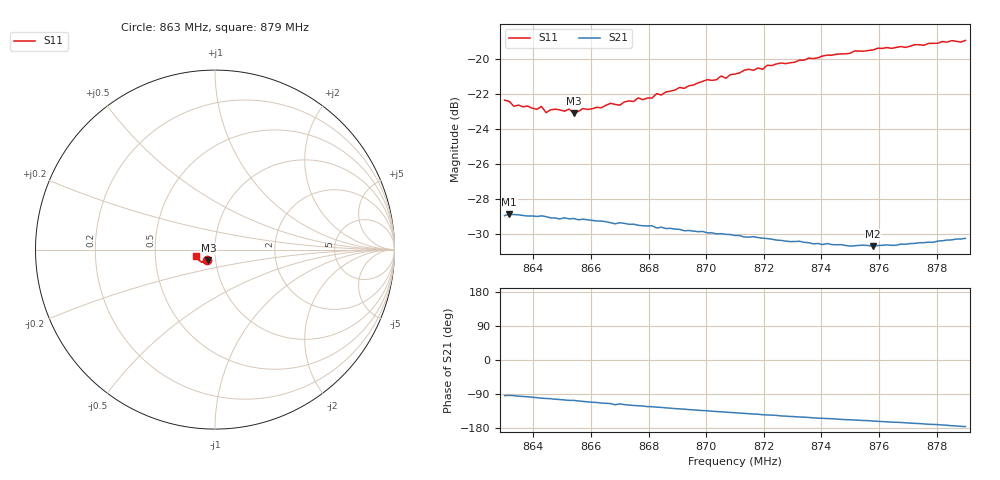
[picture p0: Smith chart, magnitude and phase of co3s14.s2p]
# HZ S RI R 50
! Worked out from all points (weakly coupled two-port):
!   101 points, 863 MHz to 879 MHz, reference 50 ohm
!   highest |S21| = -28.88 dB at 863.16 MHz (marker M1); lowest = -30.7 dB at 875.8 MHz (marker M2)
!   lowest |S11| = -23.1 dB at 865.4 MHz (marker M3), VSWR 1.15, Z = 46.1 - j5.5 ohm
!   |S11| at or under -10 dB: start of sweep to end of sweep
!   S12 and S22 are empty: the file has one direction only
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8.63e8  -0.0471 -0.0599  -0.00238 -0.0356  0 0  0 0
8.6316e8  -0.0453 -0.0605  -0.00202 -0.0359  0 0  0 0
8.6332e8  -0.0435 -0.0588  -0.00254 -0.0358  0 0  0 0
8.6412e8  -0.0408 -0.059  -0.00574 -0.035  0 0  0 0
8.6428e8  -0.0412 -0.0604  -0.00666 -0.035  0 0  0 0
8.6444e8  -0.0403 -0.0575  -0.00711 -0.0347  0 0  0 0
8.6524e8  -0.04 -0.0597  -0.00993 -0.0335  0 0  0 0
8.654e8  -0.0368 -0.0594  -0.00993 -0.0335  0 0  0 0
8.6572e8  -0.038 -0.0612  -0.0115 -0.0329  0 0  0 0
8.6636e8  -0.0383 -0.0615  -0.0138 -0.0315  0 0  0 0
8.6668e8  -0.0386 -0.0639  -0.0144 -0.0308  0 0  0 0
8.67e8  -0.0376 -0.0634  -0.0149 -0.0306  0 0  0 0
8.6764e8  -0.0399 -0.0662  -0.0171 -0.0288  0 0  0 0
8.6844e8  -0.0412 -0.0672  -0.019 -0.027  0 0  0 0
8.71e8  -0.0546 -0.0721  -0.0237 -0.0205  0 0  0 0
8.7148e8  -0.0576 -0.0735  -0.0243 -0.0191  0 0  0 0
8.7196e8  -0.0591 -0.0722  -0.025 -0.0179  0 0  0 0
8.7212e8  -0.0621 -0.0731  -0.0251 -0.0176  0 0  0 0
8.7372e8  -0.0718 -0.0699  -0.0263 -0.0136  0 0  0 0
8.758e8  -0.0876 -0.0598  -0.0276 -0.0094  0 0  0 0
8.7644e8  -0.0915 -0.0557  -0.0282 -0.00803  0 0  0 0
8.79e8  -0.1068 -0.0364  -0.0306 -0.00232  0 0  0 0
